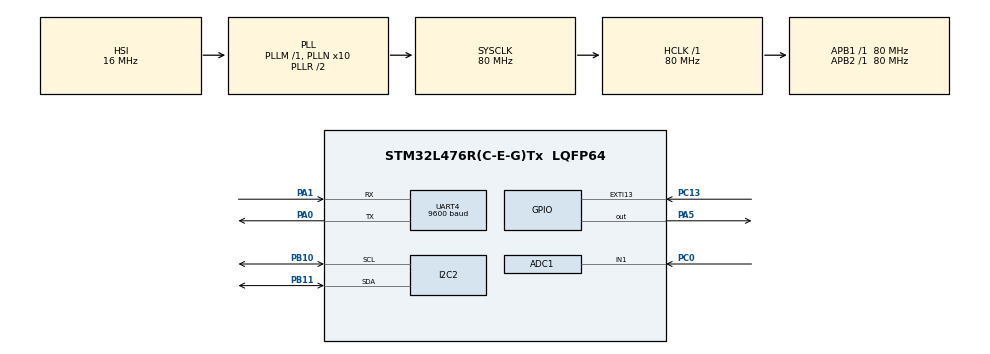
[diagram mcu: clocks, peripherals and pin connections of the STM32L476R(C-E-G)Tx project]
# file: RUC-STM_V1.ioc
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ADC1.Channel-0\#ChannelRegularConversion=ADC_CHANNEL_1
ADC1.ClockPrescaler=ADC_CLOCK_ASYNC_DIV1
ADC1.ContinuousConvMode=DISABLE
ADC1.DMAContinuousRequests=DISABLE
ADC1.DataAlign=ADC_DATAALIGN_RIGHT
ADC1.DiscontinuousConvMode=DISABLE
ADC1.EOCSelection=ADC_EOC_SINGLE_CONV
ADC1.EnableAnalogWatchDog1=false
ADC1.EnableAnalogWatchDog2=false
ADC1.EnableAnalogWatchDog3=false
ADC1.EnableInjectedConversion=DISABLE
ADC1.EnableRegularConversion=ENABLE
ADC1.ExternalTrigConv=ADC_SOFTWARE_START
ADC1.ExternalTrigConvEdge=ADC_EXTERNALTRIGCONVEDGE_NONE
ADC1.LowPowerAutoWait=DISABLE
ADC1.NbrOfConversion=1
ADC1.NbrOfConversionFlag=1
ADC1.OffsetNumber-0\#ChannelRegularConversion=ADC_OFFSET_NONE
ADC1.Overrun=ADC_OVR_DATA_PRESERVED
ADC1.OversamplingMode=DISABLE
ADC1.Rank-0\#ChannelRegularConversion=1
ADC1.Resolution=ADC_RESOLUTION_12B
ADC1.SamplingTime-0\#ChannelRegularConversion=ADC_SAMPLETIME_2CYCLES_5
ADC1.ScanConvMode=ADC_SCAN_DISABLE
ADC1.master=1
I2C2.Timing=0x10909CEC
Mcu.Family=STM32L4
Mcu.Name=STM32L476R(C-E-G)Tx
Mcu.Package=LQFP64
NVIC.EXTI15_10_IRQn=true\:0\:0\:false\:false\:true
NVIC.I2C2_ER_IRQn=true\:0\:0\:false\:false\:true
NVIC.I2C2_EV_IRQn=true\:0\:0\:false\:false\:true
NVIC.PriorityGroup=NVIC_PRIORITYGROUP_4
NVIC.RCC_IRQn=true\:0\:0\:false\:false\:true
NVIC.UART4_IRQn=true\:0\:0\:false\:false\:true
PA0.Mode=Asynchronous
PA0.Signal=UART4_TX
PA1.Mode=Asynchronous
PA1.Signal=UART4_RX
PA14.Signal=SYS_JTCK-SWCLK
PA2.Signal=USART2_TX
PA3.Signal=USART2_RX
PA5.Signal=GPIO_Output
PB10.Mode=I2C
PB10.Signal=I2C2_SCL
PB11.Mode=I2C
PB11.Signal=I2C2_SDA
PC0.Signal=ADCx_IN1
PC13.Signal=GPXTI13
PH0/OSC_IN.Mode=HSE-External-Oscillator
PH0/OSC_IN.Signal=RCC_OSC_IN
PH1/OSC_OUT.Mode=HSE-External-Oscillator
PH1/OSC_OUT.Signal=RCC_OSC_OUT
ProjectManager.HeapSize=0x200
ProjectManager.StackSize=0x400
ProjectManager.TargetToolchain=EWARM
RCC.ADCFreq_Value=64000000
RCC.AHBFreq_Value=80000000
RCC.APB1Freq_Value=80000000
RCC.APB1TimFreq_Value=80000000
RCC.APB2Freq_Value=80000000
RCC.APB2TimFreq_Value=80000000
RCC.CortexFreq_Value=80000000
RCC.HCLKFreq_Value=80000000
RCC.HSE_VALUE=8000000
RCC.HSI_VALUE=16000000
RCC.LSE_VALUE=32768
RCC.MSI_VALUE=4000000
RCC.PLLN=10
RCC.PLLSourceVirtual=RCC_PLLSOURCE_HSI
RCC.PREFETCH_ENABLE=1
RCC.SYSCLKFreq_VALUE=80000000
RCC.SYSCLKSource=RCC_SYSCLKSOURCE_PLLCLK
RCC.USBFreq_Value=64000000
RCC.VCOOutputFreq_Value=160000000
SH.ADCx_IN1.0=ADC1_IN1,IN1-Single-Ended
UART4.BaudRate=9600
UART4.WordLength=UART_WORDLENGTH_8B
board=NUCLEO-L476RG

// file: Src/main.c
/**
  ******************************************************************************
  * File Name          : main.c
  * Description        : Main program body
  ******************************************************************************
  *
  * COPYRIGHT(c) 2017 STMicroelectronics
  *
  * Redistribution and use in source and binary forms, with or without modification,
  * are permitted provided that the following conditions are met:
  *   1. Redistributions of source code must retain the above copyright notice,
  *      this list of conditions and the following disclaimer.
  *   2. Redistributions in binary form must reproduce the above copyright notice,
  *      this list of conditions and the following disclaimer in the documentation
  *      and/or other materials provided with the distribution.
  *   3. Neither the name of STMicroelectronics nor the names of its contributors
  *      may be used to endorse or promote products derived from this software
  *      without specific prior written permission.
  *
  * THIS SOFTWARE IS PROVIDED BY THE COPYRIGHT HOLDERS AND CONTRIBUTORS "AS IS"
  * AND ANY EXPRESS OR IMPLIED WARRANTIES, INCLUDING, BUT NOT LIMITED TO, THE
  * IMPLIED WARRANTIES OF MERCHANTABILITY AND FITNESS FOR A PARTICULAR PURPOSE ARE
  * DISCLAIMED. IN NO EVENT SHALL THE COPYRIGHT HOLDER OR CONTRIBUTORS BE LIABLE
  * FOR ANY DIRECT, INDIRECT, INCIDENTAL, SPECIAL, EXEMPLARY, OR CONSEQUENTIAL
  * DAMAGES (INCLUDING, BUT NOT LIMITED TO, PROCUREMENT OF SUBSTITUTE GOODS OR
  * SERVICES; LOSS OF USE, DATA, OR PROFITS; OR BUSINESS INTERRUPTION) HOWEVER
  * CAUSED AND ON ANY THEORY OF LIABILITY, WHETHER IN CONTRACT, STRICT LIABILITY,
  * OR TORT (INCLUDING NEGLIGENCE OR OTHERWISE) ARISING IN ANY WAY OUT OF THE USE
  * OF THIS SOFTWARE, EVEN IF ADVISED OF THE POSSIBILITY OF SUCH DAMAGE.
  *
  ******************************************************************************
  */
#include "main.h"
#include "stm32l4xx_hal.h"
#include "acquisitionDonnees.h"

ADC_HandleTypeDef hadc1;

I2C_HandleTypeDef hi2c2;

UART_HandleTypeDef huart4;

/* USER CODE BEGIN PV */
/* Private variables ---------------------------------------------------------*/

__IO uint8_t Demande[3]={0x03,0x00,0x04};
__IO uint8_t Test[3]={0x00,0x00,0x00};
__IO uint8_t Recevoir[8];

uint8_t rec[3] = "OK\n";

//variable pour les fonctions
float humidite=0;
float humiditeTOTAL=0;
int humiditeMB=0;
int humiditeLB=0;
float temperature=0;
float temperatureTOTAL=0;
int Thumidite=0;
char flag=0;

//variable pour le main()
float TemperatureR=0;
float HumiditeR=0;
float poids=0;

/* USER CODE END PV */

void SystemClock_Config(void);
void Error_Handler(void);
static void MX_GPIO_Init(void);
static void MX_ADC1_Init(void);
static void MX_I2C2_Init(void);
static void MX_UART4_Init(void);

/* USER CODE BEGIN PFP */
/* Private function prototypes -----------------------------------------------*/

/* USER CODE END PFP */

int main(void)
{

  /* MCU Configuration----------------------------------------------------------*/

  /* Reset of all peripherals, Initializes the Flash interface and the Systick. */
  HAL_Init();

  /* Configure the system clock */
  SystemClock_Config();

  /* Initialize all configured peripherals */
  MX_GPIO_Init();
  MX_ADC1_Init();
  MX_I2C2_Init();
  MX_UART4_Init();

  /* Infinite loop */
  while (1)
  {
    if(flag==1){
  /* USER CODE BEGIN 3 */

      poids=(getPoids()/10)+0.001;
      //connexion au capteur puis récupération des données via les fonctions
      connexionRecuperationCapteur();
      TemperatureR=getTemperature()+0.001;
      HumiditeR=getHumidite()+0.001;

      //envoi trame vers le module (poids,temp,hygro)
      HAL_GPIO_TogglePin(GPIOA, GPIO_PIN_5);
      sendData(poids,TemperatureR,HumiditeR);
      flag=0;
      HAL_Delay(1000);
    }
  /* USER CODE END 3 */

  }
}
/** System Clock Configuration
*/
void SystemClock_Config(void)
{

  RCC_OscInitTypeDef RCC_OscInitStruct;
  RCC_ClkInitTypeDef RCC_ClkInitStruct;
  RCC_PeriphCLKInitTypeDef PeriphClkInit;

    /**Initializes the CPU, AHB and APB busses clocks
    */
  RCC_OscInitStruct.OscillatorType = RCC_OSCILLATORTYPE_HSI;
  RCC_OscInitStruct.HSIState = RCC_HSI_ON;
  RCC_OscInitStruct.HSICalibrationValue = 16;
  RCC_OscInitStruct.PLL.PLLState = RCC_PLL_ON;
  RCC_OscInitStruct.PLL.PLLSource = RCC_PLLSOURCE_HSI;
  RCC_OscInitStruct.PLL.PLLM = 1;
  RCC_OscInitStruct.PLL.PLLN = 10;
  RCC_OscInitStruct.PLL.PLLP = RCC_PLLP_DIV7;
  RCC_OscInitStruct.PLL.PLLQ = RCC_PLLQ_DIV2;
  RCC_OscInitStruct.PLL.PLLR = RCC_PLLR_DIV2;
  if (HAL_RCC_OscConfig(&RCC_OscInitStruct) != HAL_OK)
  {
    Error_Handler();
  }

    /**Initializes the CPU, AHB and APB busses clocks
    */
  RCC_ClkInitStruct.ClockType = RCC_CLOCKTYPE_HCLK|RCC_CLOCKTYPE_SYSCLK
                              |RCC_CLOCKTYPE_PCLK1|RCC_CLOCKTYPE_PCLK2;
  RCC_ClkInitStruct.SYSCLKSource = RCC_SYSCLKSOURCE_PLLCLK;
  RCC_ClkInitStruct.AHBCLKDivider = RCC_SYSCLK_DIV1;
  RCC_ClkInitStruct.APB1CLKDivider = RCC_HCLK_DIV1;
  RCC_ClkInitStruct.APB2CLKDivider = RCC_HCLK_DIV1;

  if (HAL_RCC_ClockConfig(&RCC_ClkInitStruct, FLASH_LATENCY_4) != HAL_OK)
  {
    Error_Handler();
  }

  PeriphClkInit.PeriphClockSelection = RCC_PERIPHCLK_UART4|RCC_PERIPHCLK_I2C2
                              |RCC_PERIPHCLK_ADC;
  PeriphClkInit.Uart4ClockSelection = RCC_UART4CLKSOURCE_PCLK1;
  PeriphClkInit.I2c2ClockSelection = RCC_I2C2CLKSOURCE_PCLK1;
  PeriphClkInit.AdcClockSelection = RCC_ADCCLKSOURCE_PLLSAI1;
  PeriphClkInit.PLLSAI1.PLLSAI1Source = RCC_PLLSOURCE_HSI;
  PeriphClkInit.PLLSAI1.PLLSAI1M = 1;
  PeriphClkInit.PLLSAI1.PLLSAI1N = 8;
  PeriphClkInit.PLLSAI1.PLLSAI1P = RCC_PLLP_DIV7;
  PeriphClkInit.PLLSAI1.PLLSAI1Q = RCC_PLLQ_DIV2;
  PeriphClkInit.PLLSAI1.PLLSAI1R = RCC_PLLR_DIV2;
  PeriphClkInit.PLLSAI1.PLLSAI1ClockOut = RCC_PLLSAI1_ADC1CLK;
  if (HAL_RCCEx_PeriphCLKConfig(&PeriphClkInit) != HAL_OK)
  {
    Error_Handler();
  }

    /**Configure the main internal regulator output voltage
    */
  if (HAL_PWREx_ControlVoltageScaling(PWR_REGULATOR_VOLTAGE_SCALE1) != HAL_OK)
  {
    Error_Handler();
  }

    /**Configure the Systick interrupt time
    */
  HAL_SYSTICK_Config(HAL_RCC_GetHCLKFreq()/1000);

    /**Configure the Systick
    */
  HAL_SYSTICK_CLKSourceConfig(SYSTICK_CLKSOURCE_HCLK);

  /* SysTick_IRQn interrupt configuration */
  HAL_NVIC_SetPriority(SysTick_IRQn, 0, 0);
}

/* ADC1 init function */
static void MX_ADC1_Init(void)
{

  ADC_MultiModeTypeDef multimode;
  ADC_ChannelConfTypeDef sConfig;

    /**Common config
    */
  hadc1.Instance = ADC1;
  hadc1.Init.ClockPrescaler = ADC_CLOCK_ASYNC_DIV1;
  hadc1.Init.Resolution = ADC_RESOLUTION_12B;
  hadc1.Init.DataAlign = ADC_DATAALIGN_RIGHT;
  hadc1.Init.ScanConvMode = ADC_SCAN_DISABLE;
  hadc1.Init.EOCSelection = ADC_EOC_SINGLE_CONV;
  hadc1.Init.LowPowerAutoWait = DISABLE;
  hadc1.Init.ContinuousConvMode = DISABLE;
  hadc1.Init.NbrOfConversion = 1;
  hadc1.Init.DiscontinuousConvMode = DISABLE;
  hadc1.Init.NbrOfDiscConversion = 1;
  hadc1.Init.ExternalTrigConv = ADC_SOFTWARE_START;
  hadc1.Init.ExternalTrigConvEdge = ADC_EXTERNALTRIGCONVEDGE_NONE;
  hadc1.Init.DMAContinuousRequests = DISABLE;
  hadc1.Init.Overrun = ADC_OVR_DATA_PRESERVED;
  hadc1.Init.OversamplingMode = DISABLE;
  if (HAL_ADC_Init(&hadc1) != HAL_OK)
  {
    Error_Handler();
  }

    /**Configure the ADC multi-mode
    */
  multimode.Mode = ADC_MODE_INDEPENDENT;
  if (HAL_ADCEx_MultiModeConfigChannel(&hadc1, &multimode) != HAL_OK)
  {
    Error_Handler();
  }

    /**Configure Regular Channel
    */
  sConfig.Channel = ADC_CHANNEL_1;
  sConfig.Rank = 1;
  sConfig.SamplingTime = ADC_SAMPLETIME_2CYCLES_5;
  sConfig.SingleDiff = ADC_SINGLE_ENDED;
  sConfig.OffsetNumber = ADC_OFFSET_NONE;
  sConfig.Offset = 0;
  if (HAL_ADC_ConfigChannel(&hadc1, &sConfig) != HAL_OK)
  {
    Error_Handler();
  }

}

/* I2C2 init function */
static void MX_I2C2_Init(void)
{

  hi2c2.Instance = I2C2;
  hi2c2.Init.Timing = 0x10909CEC;
  hi2c2.Init.OwnAddress1 = 0;
  hi2c2.Init.AddressingMode = I2C_ADDRESSINGMODE_7BIT;
  hi2c2.Init.DualAddressMode = I2C_DUALADDRESS_DISABLE;
  hi2c2.Init.OwnAddress2 = 0;
  hi2c2.Init.OwnAddress2Masks = I2C_OA2_NOMASK;
  hi2c2.Init.GeneralCallMode = I2C_GENERALCALL_DISABLE;
  hi2c2.Init.NoStretchMode = I2C_NOSTRETCH_DISABLE;
  if (HAL_I2C_Init(&hi2c2) != HAL_OK)
  {
    Error_Handler();
  }

    /**Configure Analogue filter
    */
  if (HAL_I2CEx_ConfigAnalogFilter(&hi2c2, I2C_ANALOGFILTER_ENABLE) != HAL_OK)
  {
    Error_Handler();
  }

}

/* UART4 init function */
static void MX_UART4_Init(void)
{

  huart4.Instance = UART4;
  huart4.Init.BaudRate = 9600;
  huart4.Init.WordLength = UART_WORDLENGTH_8B;
  huart4.Init.StopBits = UART_STOPBITS_1;
  huart4.Init.Parity = UART_PARITY_NONE;
  huart4.Init.Mode = UART_MODE_TX_RX;
  huart4.Init.HwFlowCtl = UART_HWCONTROL_NONE;
  huart4.Init.OverSampling = UART_OVERSAMPLING_16;
  huart4.Init.OneBitSampling = UART_ONE_BIT_SAMPLE_DISABLE;
  huart4.AdvancedInit.AdvFeatureInit = UART_ADVFEATURE_NO_INIT;
  if (HAL_UART_Init(&huart4) != HAL_OK)
  {
    Error_Handler();
  }

}

/** Configure pins as
        * Analog
        * Input
        * Output
        * EVENT_OUT
        * EXTI
     PA2   ------> USART2_TX
     PA3   ------> USART2_RX
*/
static void MX_GPIO_Init(void)
{

  GPIO_InitTypeDef GPIO_InitStruct;

  /* GPIO Ports Clock Enable */
  __HAL_RCC_GPIOC_CLK_ENABLE();
  __HAL_RCC_GPIOH_CLK_ENABLE();
  __HAL_RCC_GPIOA_CLK_ENABLE();
  __HAL_RCC_GPIOB_CLK_ENABLE();

  /*Configure GPIO pin Output Level */
  HAL_GPIO_WritePin(GPIOA, GPIO_PIN_5, GPIO_PIN_RESET);

  /*Configure GPIO pin : PC13 */
  GPIO_InitStruct.Pin = GPIO_PIN_13;
  GPIO_InitStruct.Mode = GPIO_MODE_IT_RISING;
  GPIO_InitStruct.Pull = GPIO_NOPULL;
  HAL_GPIO_Init(GPIOC, &GPIO_InitStruct);

  /*Configure GPIO pins : PA2 PA3 */
  GPIO_InitStruct.Pin = GPIO_PIN_2|GPIO_PIN_3;
  GPIO_InitStruct.Mode = GPIO_MODE_AF_PP;
  GPIO_InitStruct.Pull = GPIO_NOPULL;
  GPIO_InitStruct.Speed = GPIO_SPEED_FREQ_VERY_HIGH;
  GPIO_InitStruct.Alternate = GPIO_AF7_USART2;
  HAL_GPIO_Init(GPIOA, &GPIO_InitStruct);

  /*Configure GPIO pin : PA5 */
  GPIO_InitStruct.Pin = GPIO_PIN_5;
  GPIO_InitStruct.Mode = GPIO_MODE_OUTPUT_PP;
  GPIO_InitStruct.Pull = GPIO_NOPULL;
  GPIO_InitStruct.Speed = GPIO_SPEED_FREQ_LOW;
  HAL_GPIO_Init(GPIOA, &GPIO_InitStruct);

  /* EXTI interrupt init*/
  HAL_NVIC_SetPriority(EXTI15_10_IRQn, 0, 0);
  HAL_NVIC_EnableIRQ(EXTI15_10_IRQn);

}

void Error_Handler(void)
{
  while(1)
  {
  }
}

/************************ (C) COPYRIGHT STMicroelectronics *****END OF FILE****/
